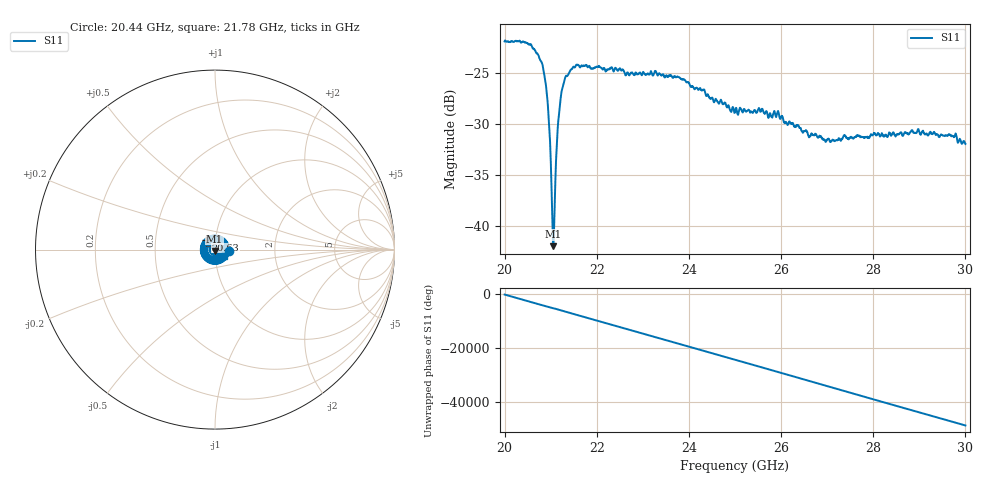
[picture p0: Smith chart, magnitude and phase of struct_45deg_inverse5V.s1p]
#  HZ  S  RI  R  50.00
! Rohde & Schwarz ZVA40 4Ports - Version 3.90 - 1145.1110k42 SN: 100403
! Date: 2023-09-28 11:19:18
! Measurement: S12
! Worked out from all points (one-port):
!   5001 points, 20 GHz to 30 GHz, reference 50 ohm
!   lowest |S11| = -42.0 dB at 21.05 GHz (marker M1), VSWR 1.02, Z = 49.8 - j0.766 ohm
!   |S11| at or under -10 dB: start of sweep to end of sweep
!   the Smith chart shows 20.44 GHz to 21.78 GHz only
!   S11 on the Smith chart (normalised r, x): 20.44 GHz: 1.17, -0.02; 20.63 GHz: 0.90, +0.10; 21.78 GHz: 1.10, -0.08
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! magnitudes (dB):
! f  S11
! 20 GHz  -21.9
! 20.44 GHz  -22.0
! 20.63 GHz  -22.6
! 20.8 GHz  -23.8
! 20.89 GHz  -26.0
! 20.96 GHz  -29.2
! 20.98 GHz  -31.1
! 21.02 GHz  -37.3
! 21.05 GHz  -42.0
! 21.07 GHz  -40.9
! 21.09 GHz  -38.0
! 21.14 GHz  -31.7
! 21.17 GHz  -29.5
! 21.2 GHz  -28.1
! 21.25 GHz  -26.6
! 21.32 GHz  -25.4
! 21.46 GHz  -24.6
! 21.78 GHz  -24.3
! 22.5 GHz  -24.6
! 23.75 GHz  -25.3
! 25 GHz  -28.9
! 25.9 GHz  -29.3
! 26.25 GHz  -29.9
! 26.95 GHz  -31.6
! 27.5 GHz  -31.3
! 28.75 GHz  -30.9
! 29.76 GHz  -31.2
! 30 GHz  -31.9
